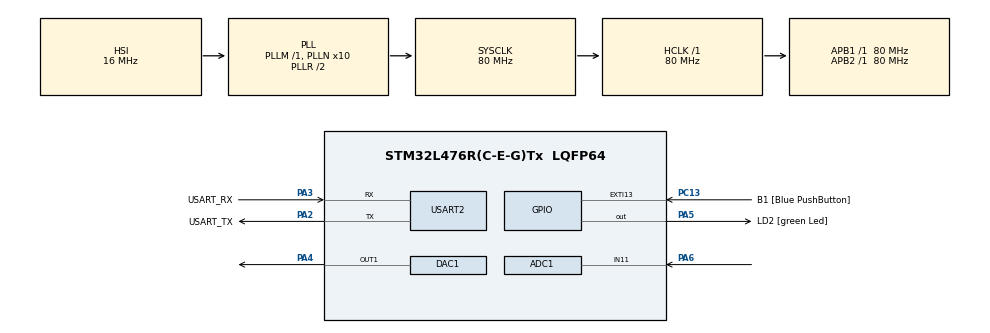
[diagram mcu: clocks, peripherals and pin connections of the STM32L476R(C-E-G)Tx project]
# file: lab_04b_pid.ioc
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ADC1.Channel-1\#ChannelRegularConversion=ADC_CHANNEL_11
ADC1.ExternalTrigConv=ADC_EXTERNALTRIG_T6_TRGO
ADC1.NbrOfConversionFlag=1
ADC1.OffsetNumber-1\#ChannelRegularConversion=ADC_OFFSET_NONE
ADC1.Rank-1\#ChannelRegularConversion=1
ADC1.SamplingTime-1\#ChannelRegularConversion=ADC_SAMPLETIME_47CYCLES_5
ADC1.master=1
Mcu.Family=STM32L4
Mcu.Name=STM32L476R(C-E-G)Tx
Mcu.Package=LQFP64
Mcu.UserConstants=TIM_DAC_PRESCALER,7999;TIM_PID_LOOP_PRESCALER,7999;TIM_DAC_PERIOD,9;TIM_PID_LOOP_PERIOD,9
NVIC.ADC1_2_IRQn=true\:0\:0\:false\:false\:true\:true\:true\:true
NVIC.PriorityGroup=NVIC_PRIORITYGROUP_4
NVIC.TIM6_DAC_IRQn=true\:0\:0\:false\:false\:true\:true\:true\:true
NVIC.TIM7_IRQn=true\:0\:0\:false\:false\:true\:true\:true\:true
PA13\ (JTMS-SWDIO).GPIO_Label=TMS
PA13\ (JTMS-SWDIO).Mode=Serial_Wire
PA13\ (JTMS-SWDIO).Signal=SYS_JTMS-SWDIO
PA14\ (JTCK-SWCLK).GPIO_Label=TCK
PA14\ (JTCK-SWCLK).Mode=Serial_Wire
PA14\ (JTCK-SWCLK).Signal=SYS_JTCK-SWCLK
PA2.GPIO_Label=USART_TX
PA2.GPIO_Mode=GPIO_MODE_AF_PP
PA2.GPIO_PuPd=GPIO_NOPULL
PA2.GPIO_Speed=GPIO_SPEED_FREQ_VERY_HIGH
PA2.Mode=Asynchronous
PA2.Signal=USART2_TX
PA3.GPIO_Label=USART_RX
PA3.GPIO_Mode=GPIO_MODE_AF_PP
PA3.GPIO_PuPd=GPIO_NOPULL
PA3.GPIO_Speed=GPIO_SPEED_FREQ_VERY_HIGH
PA3.Mode=Asynchronous
PA3.Signal=USART2_RX
PA4.Signal=COMP_DAC11_group
PA5.GPIO_Label=LD2 [green Led]
PA5.GPIO_ModeDefaultOutputPP=GPIO_MODE_OUTPUT_PP
PA5.GPIO_PuPd=GPIO_NOPULL
PA5.GPIO_Speed=GPIO_SPEED_FREQ_LOW
PA5.Signal=GPIO_Output
PA6.Signal=ADCx_IN11
PB3\ (JTDO-TRACESWO).GPIO_Label=SWO
PB3\ (JTDO-TRACESWO).Signal=SYS_JTDO-SWO
PC13.GPIO_Label=B1 [Blue PushButton]
PC13.GPIO_ModeDefaultEXTI=GPIO_MODE_IT_FALLING
PC13.GPIO_PuPd=GPIO_NOPULL
PC13.Signal=GPXTI13
PC14-OSC32_IN\ (PC14).Mode=LSE-External-Oscillator
PC14-OSC32_IN\ (PC14).Signal=RCC_OSC32_IN
PC15-OSC32_OUT\ (PC15).Mode=LSE-External-Oscillator
PC15-OSC32_OUT\ (PC15).Signal=RCC_OSC32_OUT
PH0-OSC_IN\ (PH0).Signal=RCC_OSC_IN
PH1-OSC_OUT\ (PH1).Signal=RCC_OSC_OUT
ProjectManager.HeapSize=0x200
ProjectManager.StackSize=0x400
ProjectManager.TargetToolchain=CMake
RCC.ADCFreq_Value=64000000
RCC.AHBFreq_Value=80000000
RCC.APB1Freq_Value=80000000
RCC.APB1TimFreq_Value=80000000
RCC.APB2Freq_Value=80000000
RCC.APB2TimFreq_Value=80000000
RCC.CortexFreq_Value=80000000
RCC.HCLKFreq_Value=80000000
RCC.HSE_VALUE=8000000
RCC.HSI_VALUE=16000000
RCC.MSI_VALUE=4000000
RCC.PLLN=10
RCC.PLLSourceVirtual=RCC_PLLSOURCE_HSI
RCC.PREFETCH_ENABLE=1
RCC.SYSCLKFreq_VALUE=80000000
RCC.SYSCLKSource=RCC_SYSCLKSOURCE_PLLCLK
RCC.USBFreq_Value=64000000
RCC.VCOOutputFreq_Value=160000000
SH.ADCx_IN11.0=ADC1_IN11,IN11-Single-Ended
SH.COMP_DAC11_group.0=DAC1_OUT1,DAC_OUT1
TIM6.AutoReloadPreload=TIM_AUTORELOAD_PRELOAD_DISABLE
TIM6.Period=TIM_PID_LOOP_PERIOD
TIM6.Prescaler=TIM_PID_LOOP_PRESCALER
TIM6.TIM_MasterOutputTrigger=TIM_TRGO_UPDATE
TIM7.AutoReloadPreload=TIM_AUTORELOAD_PRELOAD_DISABLE
TIM7.Period=TIM_DAC_PERIOD
TIM7.Prescaler=TIM_DAC_PRESCALER
USART2.VirtualMode-Asynchronous=VM_ASYNC
VP_TIM6_VS_ClockSourceINT.Mode=Enable_Timer
VP_TIM7_VS_ClockSourceINT.Mode=Enable_Timer
board=NUCLEO-L476RG

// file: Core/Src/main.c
/* USER CODE BEGIN Header */
/**
 ******************************************************************************
 * @file           : main.c
 * @brief          : Main program body
 ******************************************************************************
 * @attention
 *
 * Copyright (c) 2025 STMicroelectronics.
 * All rights reserved.
 *
 * This software is licensed under terms that can be found in the LICENSE file
 * in the root directory of this software component.
 * If no LICENSE file comes with this software, it is provided AS-IS.
 *
 ******************************************************************************
 */
/* USER CODE END Header */
#include "main.h"
#include "adc.h"
#include "dac.h"
#include "tim.h"
#include "usart.h"
#include "gpio.h"

/* USER CODE BEGIN Includes */
#include "pid.h"
/* USER CODE END Includes */

/* USER CODE BEGIN PV */
volatile int adc_flag;        // Flaga sygnalizująca zakończenie konwersji ADC
volatile int adc_value;       // Aktualny odczyt ADC (wartość mierzona)
volatile int dac_value;       // Aktualna wartość wyjściowa DAC (setpoint z sinusoidy)
volatile int dac_control;     // Wartość wyjściowa regulatora PID
volatile uint16_t dac_index;  // Aktualny indeks w tablicy lookup sinusoidy
volatile uint8_t dac_nperiod; // Licznik do generowania sinusoidy z odpowiednią prędkością
#define dac_nperiod_max 40   // Maksymalna wartość licznika przed przejściem do następnego punktu sinusoidy
float V_REF = 3.3f;

// Parametry sinusoidy w zakresie 0.4V - 2.9V
#define V_MIN 0.4f          // Minimalne napięcie sinusoidy [V]
#define V_MAX 2.9f          // Maksymalne napięcie sinusoidy [V]
#define V_AMPLITUDE ((V_MAX - V_MIN) / 2.0f)  // Amplituda sinusoidy [V]
#define V_OFFSET (V_MIN + V_AMPLITUDE)         // Offset sinusoidy [V]

cpid_t pid; // Instancja regulatora PID
/* USER CODE END PV */

void SystemClock_Config(void);

/* USER CODE BEGIN 0 */
uint16_t sin_wave[] = {
    2048, 2112, 2176, 2239, 2302, 2364, 2424, 2483, 2541,
    2596, 2649, 2700, 2748, 2794, 2836, 2876, 2912, 2945,
    2974, 2999, 3021, 3039, 3053, 3063, 3069, 3071, 3069,
    3063, 3053, 3039, 3021, 2999, 2974, 2945, 2912, 2876,
    2836, 2794, 2748, 2700, 2649, 2596, 2541, 2483, 2424,
    2364, 2302, 2239, 2176, 2112, 2048, 1983, 1919, 1856,
    1793, 1731, 1671, 1612, 1554, 1499, 1446, 1395, 1347,
    1301, 1259, 1219, 1183, 1150, 1121, 1096, 1074, 1056,
    1042, 1032, 1026, 1024, 1026, 1032, 1042, 1056, 1074,
    1096, 1121, 1150, 1183, 1219, 1259, 1301, 1347, 1395,
    1446, 1499, 1554, 1612, 1671, 1731, 1793, 1856, 1919, 1983};

void HAL_ADC_ConvCpltCallback(ADC_HandleTypeDef *hadc)
{
  if (hadc == &hadc1)
  {
    adc_flag = 1;
    adc_value = HAL_ADC_GetValue(&hadc1);
  }
}

/* Funkcja przeliczająca surową wartość DAC na napięcie*/
float raw_to_voltage(int raw_value)
{
  return (raw_value / 4095.0f) * V_REF;
}

/* Funkcja przeliczająca napięcie na surową wartość DAC */
int voltage_to_raw(float voltage)
{
  return (int)((voltage / V_REF) * 4095.0f);
}

void HAL_TIM_PeriodElapsedCallback(TIM_HandleTypeDef *htim)
{
  if (htim == &htim7)
  {
    uint16_t original_sine = sin_wave[dac_index];

    float normalized = (float)(original_sine - 1024) / (3071 - 1024);

    uint16_t v_min_raw = voltage_to_raw(0.4f);   // 0.4V w jednostkach DAC
    uint16_t v_max_raw = voltage_to_raw(2.9f);  // 2.9V w jednostkach DAC

    dac_value = v_min_raw + (uint16_t)(normalized * (v_max_raw - v_min_raw));

    ++dac_nperiod;
    if (dac_nperiod >= dac_nperiod_max)
    {
      dac_nperiod = 0;
      ++dac_index;
      if (dac_index >= 100)
        dac_index = 0;
    }
  }
}

int _write(int file, char *ptr, int len)
{
  HAL_UART_Transmit(&huart2, (uint8_t *)ptr, len, HAL_MAX_DELAY);
  return len;
}

/* USER CODE END 0 */

int main(void)
{

  /* MCU Configuration--------------------------------------------------------*/

  /* Reset of all peripherals, Initializes the Flash interface and the Systick. */
  HAL_Init();

  /* Configure the system clock */
  SystemClock_Config();

  /* Initialize all configured peripherals */
  MX_GPIO_Init();
  MX_USART2_UART_Init();
  MX_ADC1_Init();
  MX_DAC1_Init();
  MX_TIM6_Init();
  MX_TIM7_Init();
  /* USER CODE BEGIN 2 */

  // Konfiguracja i uruchomienie DAC
  HAL_DAC_SetValue(&hdac1, DAC_CHANNEL_1, DAC_ALIGN_12B_R, 0); // Ustaw początkowe wyjście DAC na 0
  HAL_DAC_Start(&hdac1, DAC_CHANNEL_1);                        // Uruchom kanał 1 DAC

  // Konfiguracja i uruchomienie timerów
  HAL_TIM_Base_Start(&htim6);    // Uruchom TIM6 (baza czasowa PID, bez przerwań)
  HAL_TIM_Base_Start_IT(&htim7); // Uruchom TIM7 z przerwaniami (generator sinusoidy)

  // Konfiguracja i uruchomienie ADC
  HAL_ADC_Start_IT(&hadc1); // Uruchom ADC1 w trybie przerwań

  // Inicjalizacja regulatora PID
  // Parametry: P=1.0, I=0.0, D=0.0, 10 bitów ułamkowych, czas próbkowania 1ms
  pid_init(&pid, 1.0f, 0.6f, 0.05f, 10, 1);

  // Ustawienie ograniczeń składowych PID (ochrona anti-windup i nasycenia)
  pid.p_max = pid_scale(&pid, 4095);     // Maks. wyjście proporcjonalne = pełny zakres DAC
  pid.p_min = pid_scale(&pid, -4095);    // Min. wyjście proporcjonalne = ujemny pełny zakres DAC
  pid.i_max = pid_scale(&pid, 4095);     // Maks. wyjście całkujące = pełny zakres DAC
  pid.i_min = pid_scale(&pid, -4095);    // Min. wyjście całkujące = ujemny pełny zakres DAC
  pid.d_max = pid_scale(&pid, 4095);     // Maks. wyjście różniczkujące = pełny zakres DAC
  pid.d_min = pid_scale(&pid, -4095);    // Min. wyjście różniczkujące = ujemny pełny zakres DAC
  pid.total_max = pid_scale(&pid, 4095); // Maks. całkowite wyjście PID = pełny zakres DAC
  pid.total_min = pid_scale(&pid, 0);    // Min. całkowite wyjście PID = 0 (DAC nie może być ujemny)

  uint16_t ctr = 0; // Licznik do wyświetlania wartości

  /* USER CODE END 2 */

  /* Infinite loop */
  /* USER CODE BEGIN WHILE */
  while (1)
  {

    if (adc_flag == 1) // Sprawdź czy gotowa jest nowa konwersja ADC
    {
      ctr++; // Inkremntowanie wartości do wyświetlania
      adc_flag = 0; // Wyczyść flagę gotowości ADC

      // Wykonaj algorytm sterowania PID
      // Wejście: adc_value (mierzona/sprzężenie zwrotne), dac_value (setpoint z sinusoidy)
      // Wyjście: dac_control (sygnał sterujący do aktuatora)
      dac_control = pid_calc(&pid, adc_value, dac_value);

      // Zastosuj wyjście sterowania do DAC
      HAL_DAC_SetValue(&hdac1, DAC_CHANNEL_1, DAC_ALIGN_12B_R, dac_control);

      // Logowanie danych przez UART
      // Format: "wartość_mierzona;setpoint;wyjście_sterowania;"
      // Pozwala to na monitorowanie i analizę wydajności systemu w czasie rzeczywistym
      if (ctr >= 100)
      {
        // printf("275417;%d;%d;%d;\r\n", adc_value, dac_value, dac_control);
        printf("275417;%.2f;%.2f;%.2f;\r\n", raw_to_voltage(adc_value), raw_to_voltage(dac_value), raw_to_voltage(dac_control));
        ctr = 0;
      }
    }

    /* USER CODE END WHILE */

  }
}

void SystemClock_Config(void)
{
  RCC_OscInitTypeDef RCC_OscInitStruct = {0};
  RCC_ClkInitTypeDef RCC_ClkInitStruct = {0};

  /** Configure the main internal regulator output voltage
   */
  if (HAL_PWREx_ControlVoltageScaling(PWR_REGULATOR_VOLTAGE_SCALE1) != HAL_OK)
  {
    Error_Handler();
  }

  /** Initializes the RCC Oscillators according to the specified parameters
   * in the RCC_OscInitTypeDef structure.
   */
  RCC_OscInitStruct.OscillatorType = RCC_OSCILLATORTYPE_HSI;
  RCC_OscInitStruct.HSIState = RCC_HSI_ON;
  RCC_OscInitStruct.HSICalibrationValue = RCC_HSICALIBRATION_DEFAULT;
  RCC_OscInitStruct.PLL.PLLState = RCC_PLL_ON;
  RCC_OscInitStruct.PLL.PLLSource = RCC_PLLSOURCE_HSI;
  RCC_OscInitStruct.PLL.PLLM = 1;
  RCC_OscInitStruct.PLL.PLLN = 10;
  RCC_OscInitStruct.PLL.PLLP = RCC_PLLP_DIV7;
  RCC_OscInitStruct.PLL.PLLQ = RCC_PLLQ_DIV2;
  RCC_OscInitStruct.PLL.PLLR = RCC_PLLR_DIV2;
  if (HAL_RCC_OscConfig(&RCC_OscInitStruct) != HAL_OK)
  {
    Error_Handler();
  }

  /** Initializes the CPU, AHB and APB buses clocks
   */
  RCC_ClkInitStruct.ClockType = RCC_CLOCKTYPE_HCLK | RCC_CLOCKTYPE_SYSCLK | RCC_CLOCKTYPE_PCLK1 | RCC_CLOCKTYPE_PCLK2;
  RCC_ClkInitStruct.SYSCLKSource = RCC_SYSCLKSOURCE_PLLCLK;
  RCC_ClkInitStruct.AHBCLKDivider = RCC_SYSCLK_DIV1;
  RCC_ClkInitStruct.APB1CLKDivider = RCC_HCLK_DIV1;
  RCC_ClkInitStruct.APB2CLKDivider = RCC_HCLK_DIV1;

  if (HAL_RCC_ClockConfig(&RCC_ClkInitStruct, FLASH_LATENCY_4) != HAL_OK)
  {
    Error_Handler();
  }
}

void Error_Handler(void)
{
  __disable_irq();
  while (1)
  {
  }
}
